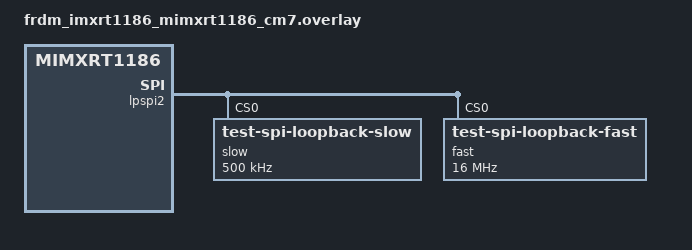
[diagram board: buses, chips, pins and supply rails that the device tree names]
/*
 * Copyright 2026 NXP
 *
 * SPDX-License-Identifier: Apache-2.0
 */

/* To test this sample, connect J3-14 (LPSPI2_SOUT) <-> J3-16 (LPSPI2_SIN) */

&lpspi2 {
	slow@0 {
		compatible = "test-spi-loopback-slow";
		reg = <0>;
		spi-max-frequency = <500000>;
	};

	fast@0 {
		compatible = "test-spi-loopback-fast";
		reg = <0>;
		spi-max-frequency = <16000000>;
	};

	transfer-delay = <100>;
	pcs-sck-delay = <100>;
	sck-pcs-delay = <100>;
};
